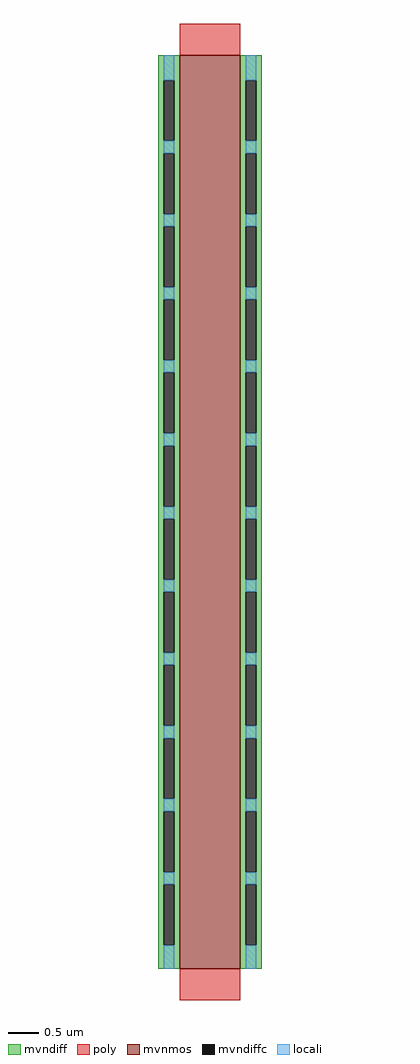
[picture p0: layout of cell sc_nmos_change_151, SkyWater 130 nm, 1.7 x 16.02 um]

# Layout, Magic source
magic
tech sky130A
<< mvnmos >>
rect 225 601 325 2101
<< mvndiff >>
rect 190 2060 225 2101
rect 190 1960 199 2060
rect 216 1960 225 2060
rect 190 1940 225 1960
rect 190 1840 199 1940
rect 216 1840 225 1940
rect 190 1820 225 1840
rect 190 1720 199 1820
rect 216 1720 225 1820
rect 190 1700 225 1720
rect 190 1600 199 1700
rect 216 1600 225 1700
rect 190 1580 225 1600
rect 190 1480 199 1580
rect 216 1480 225 1580
rect 190 1460 225 1480
rect 190 1360 199 1460
rect 216 1360 225 1460
rect 190 1340 225 1360
rect 190 1240 199 1340
rect 216 1240 225 1340
rect 190 1220 225 1240
rect 190 1120 199 1220
rect 216 1120 225 1220
rect 190 1100 225 1120
rect 190 1000 199 1100
rect 216 1000 225 1100
rect 190 980 225 1000
rect 190 880 199 980
rect 216 880 225 980
rect 190 860 225 880
rect 190 760 199 860
rect 216 760 225 860
rect 190 740 225 760
rect 190 640 199 740
rect 216 640 225 740
rect 190 601 225 640
rect 325 2060 360 2101
rect 325 1960 334 2060
rect 351 1960 360 2060
rect 325 1940 360 1960
rect 325 1840 334 1940
rect 351 1840 360 1940
rect 325 1820 360 1840
rect 325 1720 334 1820
rect 351 1720 360 1820
rect 325 1700 360 1720
rect 325 1600 334 1700
rect 351 1600 360 1700
rect 325 1580 360 1600
rect 325 1480 334 1580
rect 351 1480 360 1580
rect 325 1460 360 1480
rect 325 1360 334 1460
rect 351 1360 360 1460
rect 325 1340 360 1360
rect 325 1240 334 1340
rect 351 1240 360 1340
rect 325 1220 360 1240
rect 325 1120 334 1220
rect 351 1120 360 1220
rect 325 1100 360 1120
rect 325 1000 334 1100
rect 351 1000 360 1100
rect 325 980 360 1000
rect 325 880 334 980
rect 351 880 360 980
rect 325 860 360 880
rect 325 760 334 860
rect 351 760 360 860
rect 325 740 360 760
rect 325 640 334 740
rect 351 640 360 740
rect 325 601 360 640
<< mvndiffc >>
rect 199 1960 216 2060
rect 199 1840 216 1940
rect 199 1720 216 1820
rect 199 1600 216 1700
rect 199 1480 216 1580
rect 199 1360 216 1460
rect 199 1240 216 1340
rect 199 1120 216 1220
rect 199 1000 216 1100
rect 199 880 216 980
rect 199 760 216 860
rect 199 640 216 740
rect 334 1960 351 2060
rect 334 1840 351 1940
rect 334 1720 351 1820
rect 334 1600 351 1700
rect 334 1480 351 1580
rect 334 1360 351 1460
rect 334 1240 351 1340
rect 334 1120 351 1220
rect 334 1000 351 1100
rect 334 880 351 980
rect 334 760 351 860
rect 334 640 351 740
<< poly >>
rect 225 2101 325 2152
rect 225 550 325 601
<< locali >>
rect 199 2060 216 2101
rect 199 1940 216 1960
rect 199 1820 216 1840
rect 199 1700 216 1720
rect 199 1580 216 1600
rect 199 1460 216 1480
rect 199 1340 216 1360
rect 199 1220 216 1240
rect 199 1100 216 1120
rect 199 980 216 1000
rect 199 860 216 880
rect 199 740 216 760
rect 199 601 216 640
rect 334 2060 351 2101
rect 334 1940 351 1960
rect 334 1820 351 1840
rect 334 1700 351 1720
rect 334 1580 351 1600
rect 334 1460 351 1480
rect 334 1340 351 1360
rect 334 1220 351 1240
rect 334 1100 351 1120
rect 334 980 351 1000
rect 334 860 351 880
rect 334 740 351 760
rect 334 601 351 640
<< end >>
